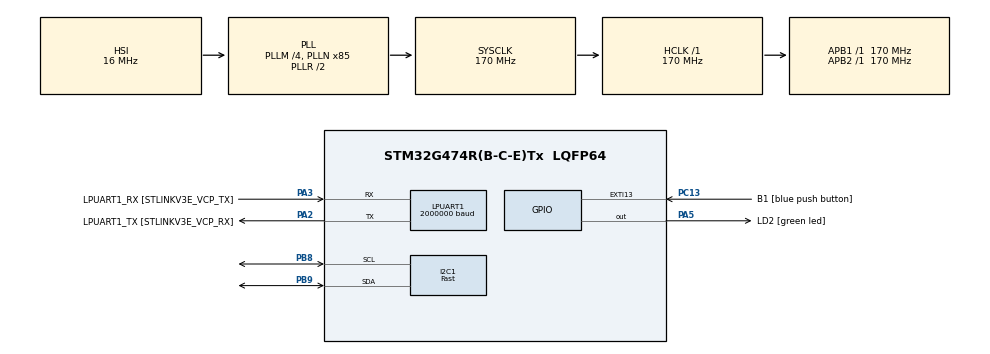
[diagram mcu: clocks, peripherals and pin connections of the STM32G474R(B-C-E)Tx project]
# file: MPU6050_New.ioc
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Dma.LPUART1_RX.1.Direction=DMA_PERIPH_TO_MEMORY
Dma.LPUART1_RX.1.EventEnable=DISABLE
Dma.LPUART1_RX.1.Instance=DMA1_Channel2
Dma.LPUART1_RX.1.MemDataAlignment=DMA_MDATAALIGN_BYTE
Dma.LPUART1_RX.1.MemInc=DMA_MINC_ENABLE
Dma.LPUART1_RX.1.Mode=DMA_CIRCULAR
Dma.LPUART1_RX.1.PeriphDataAlignment=DMA_PDATAALIGN_BYTE
Dma.LPUART1_RX.1.PeriphInc=DMA_PINC_DISABLE
Dma.LPUART1_RX.1.Polarity=HAL_DMAMUX_REQ_GEN_RISING
Dma.LPUART1_RX.1.Priority=DMA_PRIORITY_VERY_HIGH
Dma.LPUART1_RX.1.RequestNumber=1
Dma.LPUART1_RX.1.SignalID=NONE
Dma.LPUART1_RX.1.SyncEnable=DISABLE
Dma.LPUART1_RX.1.SyncPolarity=HAL_DMAMUX_SYNC_NO_EVENT
Dma.LPUART1_RX.1.SyncRequestNumber=1
Dma.LPUART1_RX.1.SyncSignalID=NONE
Dma.LPUART1_TX.0.Direction=DMA_MEMORY_TO_PERIPH
Dma.LPUART1_TX.0.EventEnable=DISABLE
Dma.LPUART1_TX.0.Instance=DMA1_Channel1
Dma.LPUART1_TX.0.MemDataAlignment=DMA_MDATAALIGN_BYTE
Dma.LPUART1_TX.0.MemInc=DMA_MINC_ENABLE
Dma.LPUART1_TX.0.Mode=DMA_NORMAL
Dma.LPUART1_TX.0.PeriphDataAlignment=DMA_PDATAALIGN_BYTE
Dma.LPUART1_TX.0.PeriphInc=DMA_PINC_DISABLE
Dma.LPUART1_TX.0.Polarity=HAL_DMAMUX_REQ_GEN_RISING
Dma.LPUART1_TX.0.Priority=DMA_PRIORITY_VERY_HIGH
Dma.LPUART1_TX.0.RequestNumber=1
Dma.LPUART1_TX.0.SignalID=NONE
Dma.LPUART1_TX.0.SyncEnable=DISABLE
Dma.LPUART1_TX.0.SyncPolarity=HAL_DMAMUX_SYNC_NO_EVENT
Dma.LPUART1_TX.0.SyncRequestNumber=1
Dma.LPUART1_TX.0.SyncSignalID=NONE
Dma.Request0=LPUART1_TX
Dma.Request1=LPUART1_RX
FREERTOS.Tasks01=defaultTask,24,3000,StartDefaultTask,As weak,NULL,Static,defaultTaskBuffer,defaultTaskControlBlock
FREERTOS.configENABLE_FPU=1
I2C1.I2C_Speed_Mode=I2C_Fast
I2C1.Timing=0x40621236
LPUART1.BaudRate=2000000
Mcu.Family=STM32G4
Mcu.Name=STM32G474R(B-C-E)Tx
Mcu.Package=LQFP64
NVIC.DMA1_Channel1_IRQn=true\:5\:0\:false\:false\:true\:true\:false\:true\:true
NVIC.DMA1_Channel2_IRQn=true\:5\:0\:false\:false\:true\:true\:false\:true\:true
NVIC.EXTI15_10_IRQn=true\:5\:0\:false\:false\:true\:true\:true\:true\:true
NVIC.LPUART1_IRQn=true\:5\:0\:false\:false\:true\:true\:true\:true\:true
NVIC.PriorityGroup=NVIC_PRIORITYGROUP_4
NVIC.TIM1_UP_TIM16_IRQn=true\:15\:0\:false\:false\:true\:false\:false\:true\:true
NVIC.TimeBase=TIM1_UP_TIM16_IRQn
NVIC.TimeBaseIP=TIM1
PA13.GPIO_Label=T_SWDIO
PA13.Signal=SYS_JTMS-SWDIO
PA14.GPIO_Label=T_SWCLK
PA14.Signal=SYS_JTCK-SWCLK
PA2.GPIO_Label=LPUART1_TX [STLINKV3E_VCP_RX]
PA2.Mode=Asynchronous
PA2.Signal=LPUART1_TX
PA3.GPIO_Label=LPUART1_RX [STLINKV3E_VCP_TX]
PA3.Mode=Asynchronous
PA3.Signal=LPUART1_RX
PA5.GPIO_Label=LD2 [green led]
PA5.Signal=GPIO_Output
PB3.GPIO_Label=T_SWO
PB3.Signal=SYS_JTDO-SWO
PB8-BOOT0.Mode=I2C
PB8-BOOT0.Signal=I2C1_SCL
PB9.Mode=I2C
PB9.Signal=I2C1_SDA
PC13.GPIO_Label=B1 [blue push button]
PC13.Signal=GPXTI13
PC14-OSC32_IN.GPIO_Label=RCC_OSC32_IN
PC14-OSC32_IN.Signal=RCC_OSC32_IN
PC15-OSC32_OUT.GPIO_Label=RCC_OSC32_OUT
PC15-OSC32_OUT.Signal=RCC_OSC32_OUT
PF0-OSC_IN.GPIO_Label=RCC_OSC_IN
PF0-OSC_IN.Signal=RCC_OSC_IN
PF1-OSC_OUT.GPIO_Label=RCC_OSC_OUT
PF1-OSC_OUT.Signal=RCC_OSC_OUT
ProjectManager.HeapSize=0x200
ProjectManager.StackSize=0x400
ProjectManager.TargetToolchain=STM32CubeIDE
RCC.ADC12Freq_Value=170000000
RCC.ADC345Freq_Value=170000000
RCC.AHBFreq_Value=170000000
RCC.APB1Freq_Value=170000000
RCC.APB1TimFreq_Value=170000000
RCC.APB2Freq_Value=170000000
RCC.APB2TimFreq_Value=170000000
RCC.CortexFreq_Value=170000000
RCC.EXTERNAL_CLOCK_VALUE=12288000
RCC.HCLKFreq_Value=170000000
RCC.HSE_VALUE=24000000
RCC.HSI48_VALUE=48000000
RCC.HSI_VALUE=16000000
RCC.LSE_VALUE=32768
RCC.PLLM=RCC_PLLM_DIV4
RCC.PLLN=85
RCC.RTCClockSelection=RCC_RTCCLKSOURCE_LSE
RCC.SYSCLKFreq_VALUE=170000000
RCC.SYSCLKSource=RCC_SYSCLKSOURCE_PLLCLK
RCC.USBFreq_Value=170000000
RCC.VCOOutputFreq_Value=340000000
VP_FREERTOS_VS_CMSIS_V2.Mode=CMSIS_V2
VP_SYS_VS_DBSignals.Mode=DisableDeadBatterySignals
VP_SYS_VS_tim1.Mode=TIM1
board=NUCLEO-G474RE

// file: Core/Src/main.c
/* USER CODE BEGIN Header */
/**
  ******************************************************************************
  * @file           : main.c
  * @brief          : Main program body
  ******************************************************************************
  * @attention
  *
  * Copyright (c) 2024 STMicroelectronics.
  * All rights reserved.
  *
  * This software is licensed under terms that can be found in the LICENSE file
  * in the root directory of this software component.
  * If no LICENSE file comes with this software, it is provided AS-IS.
  *
  ******************************************************************************
  */
/* USER CODE END Header */
#include "main.h"
#include "cmsis_os.h"
#include "dma.h"
#include "i2c.h"
#include "usart.h"
#include "gpio.h"

/* USER CODE BEGIN Includes */
#include <rcl/rcl.h>
#include <rcl/error_handling.h>
#include <rclc/rclc.h>
#include <rcl/init_options.h>
#include <rclc/executor.h>
#include <uxr/client/transport.h>
#include <rmw_microxrcedds_c/config.h>
#include <rmw_microros/rmw_microros.h>
#include <micro_ros_utilities/string_utilities.h>

#include <imu_interfaces/srv/imu_calibration.h>
#include <imu_interfaces/srv/imu_status.h>
#include <sensor_msgs/msg/imu.h>
#include <geometry_msgs/msg/twist.h>
#include <mpu6050.h>
#include <math.h>
/* USER CODE END Includes */

/* USER CODE BEGIN PTD */
typedef struct {
	double x;
	double y;
	double z;
}offset3D_t;

/* USER CODE END PTD */

/* USER CODE BEGIN PD */
#define G2M_S2 9.81
#define DEG2RAD M_PI/180.0
#define RAD2DEG 180/M_PI
/* USER CODE END PD */

/* USER CODE BEGIN PM */
#define RCSOFTCHECK(fn) if (fn != RCL_RET_OK){};
/* USER CODE END PM */

/* USER CODE BEGIN PV */

// Micro ROS Define starter
rclc_support_t support;
rcl_allocator_t allocator;
rcl_node_t node;
rcl_init_options_t init_options;

// Timer
rcl_timer_t node_timer;

// Executor
rclc_executor_t executor;

// Publisher
rcl_publisher_t mpu6050_publisher;

// Service server
rcl_service_t mpu6050_service;
imu_interfaces__srv__ImuCalibration_Response mpu6050_response;
imu_interfaces__srv__ImuCalibration_Request mpu6050_request;

rcl_service_t mpu6050_status_service;
imu_interfaces__srv__ImuStatus_Request mpu6050_status_request;
imu_interfaces__srv__ImuStatus_Response mpu6050_status_response;

// Message
sensor_msgs__msg__Imu mpu6050_msg;
geometry_msgs__msg__Twist cmd_vel_msg;

// Variable
MPU6050_t MPU6050;
offset3D_t accel_offset;
offset3D_t gyro_offset;

double dt = 0.01;

bool is_calibrate = false;
/* USER CODE END PV */

void SystemClock_Config(void);
void MX_FREERTOS_Init(void);
/* USER CODE BEGIN PFP */
bool cubemx_transport_open(struct uxrCustomTransport * transport);
bool cubemx_transport_close(struct uxrCustomTransport * transport);
size_t cubemx_transport_write(struct uxrCustomTransport* transport, const uint8_t * buf, size_t len, uint8_t * err);
size_t cubemx_transport_read(struct uxrCustomTransport* transport, uint8_t* buf, size_t len, int timeout, uint8_t* err);

void * microros_allocate(size_t size, void * state);
void microros_deallocate(void * pointer, void * state);
void * microros_reallocate(void * pointer, size_t size, void * state);
void * microros_zero_allocate(size_t number_of_elements, size_t size_of_element, void * state);
/* USER CODE END PFP */

/* USER CODE BEGIN 0 */

void pub_mpu6050(){
	// Set value in mpu6050_msg
	mpu6050_msg.header.frame_id = micro_ros_string_utilities_init("mpu6050_frame");
	mpu6050_msg.header.stamp.sec = rmw_uros_epoch_millis()/1000;
	mpu6050_msg.header.stamp.nanosec = rmw_uros_epoch_nanos();

	mpu6050_msg.linear_acceleration.x = G2M_S2 * MPU6050.Ax - accel_offset.x;
	mpu6050_msg.linear_acceleration.y = G2M_S2 * MPU6050.Ay - accel_offset.y;
	mpu6050_msg.linear_acceleration.z = G2M_S2 * MPU6050.Az - accel_offset.z;

	mpu6050_msg.angular_velocity.x = DEG2RAD * MPU6050.Gx - gyro_offset.x;
	mpu6050_msg.angular_velocity.y = DEG2RAD * MPU6050.Gy - gyro_offset.y;
	mpu6050_msg.angular_velocity.z = DEG2RAD * MPU6050.Gz - gyro_offset.z;

	// Publish mpu6050 data
	RCSOFTCHECK(rcl_publish(&mpu6050_publisher, &mpu6050_msg, NULL));
}

void service_callback(const void * request_msg, void * response_msg){
  imu_interfaces__srv__ImuCalibration_Request * req_in = (imu_interfaces__srv__ImuCalibration_Request *) request_msg;
  imu_interfaces__srv__ImuCalibration_Response* res_in = (imu_interfaces__srv__ImuCalibration_Response *) response_msg;

  for(int i=0 ; i<9 ; i++){
	  mpu6050_msg.linear_acceleration_covariance[i] = req_in->imu_calib.linear_acceleration_covariance[i];
	  mpu6050_msg.angular_velocity_covariance[i] = req_in->imu_calib.angular_velocity_covariance[i];
  }

  accel_offset.x = req_in->imu_calib.linear_acceleration.x;
  accel_offset.y = req_in->imu_calib.linear_acceleration.y;
  accel_offset.z = req_in->imu_calib.linear_acceleration.z;

  gyro_offset.x = req_in->imu_calib.angular_velocity.x;
  gyro_offset.y = req_in->imu_calib.angular_velocity.y;
  gyro_offset.z = req_in->imu_calib.angular_velocity.z;

  res_in->success = true;
  is_calibrate = true;

  HAL_GPIO_WritePin(LD2_GPIO_Port, LD2_Pin, GPIO_PIN_SET);
}

void imu_status_service_callback(const void * request_msg, void * response_msg){
  imu_interfaces__srv__ImuStatus_Request * req_in = (imu_interfaces__srv__ImuStatus_Request *) request_msg;
  imu_interfaces__srv__ImuStatus_Response * res_in = (imu_interfaces__srv__ImuStatus_Response *) response_msg;

  if (req_in->imu_status_check.data){
	  if(is_calibrate){
		  double g = G2M_S2 * MPU6050.Az - accel_offset.z;
		  if( g >= 9.0 && g <= 10.8) {
			  res_in->imu_status.data = true;
		  }else {
			  res_in->imu_status.data = false;
		}
	  }else {
		  res_in->imu_status.data   = false;
	}
  }
}

void timer_callback(rcl_timer_t * timer, int64_t last_call_time){
	if (timer != NULL) {
		// Read mpu6050
		MPU6050_Read_All(&hi2c1, &MPU6050);
		// call mpu6050 publish function
		pub_mpu6050();
	}
}

void StartDefaultTask(void *argument){
  // micro-ROS configuration

  rmw_uros_set_custom_transport(
    true,
    (void *) &hlpuart1,
    cubemx_transport_open,
    cubemx_transport_close,
    cubemx_transport_write,
    cubemx_transport_read);

  rcl_allocator_t freeRTOS_allocator = rcutils_get_zero_initialized_allocator();
  freeRTOS_allocator.allocate = microros_allocate;
  freeRTOS_allocator.deallocate = microros_deallocate;
  freeRTOS_allocator.reallocate = microros_reallocate;
  freeRTOS_allocator.zero_allocate =  microros_zero_allocate;

  if (!rcutils_set_default_allocator(&freeRTOS_allocator)) {
      printf("Error on default allocators (line %d)\n", __LINE__);
  }

  // micro-ROS app
  allocator = rcl_get_default_allocator();

  //create init_options
  init_options = rcl_get_zero_initialized_init_options();
  RCSOFTCHECK(rcl_init_options_init(&init_options, allocator));
  RCSOFTCHECK(rcl_init_options_set_domain_id(&init_options, 50));

  rclc_support_init_with_options(&support, 0, NULL, &init_options, &allocator);

  // create node
  rclc_node_init_default(&node, "mpu6050_node", "", &support);

  // sync time
  rmw_uros_sync_session(1000);

  // create timer
  rclc_timer_init_default(
	  &node_timer,
	  &support,
	  RCL_MS_TO_NS(dt*1000),
	  timer_callback
  );

  // create publisher
  rclc_publisher_init_best_effort(
  	  &mpu6050_publisher,
  	  &node,
  	  ROSIDL_GET_MSG_TYPE_SUPPORT(sensor_msgs, msg, Imu),
  	  "mpu6050_publisher"
  );

  // create service
  rclc_service_init_default(
	  &mpu6050_service,
	  &node,
	  ROSIDL_GET_SRV_TYPE_SUPPORT(imu_interfaces, srv, ImuCalibration),
	  "mpu6050_calibration"
  );

  rclc_service_init_default(
	  &mpu6050_status_service,
	  &node,
	  ROSIDL_GET_SRV_TYPE_SUPPORT(imu_interfaces, srv, ImuStatus),
	  "status"
  );

  // create executor
  executor = rclc_executor_get_zero_initialized_executor();
  rclc_executor_init(&executor, &support.context, 3, &allocator);
  rclc_executor_add_timer(&executor, &node_timer);
  rclc_executor_add_service(&executor, &mpu6050_status_service, &mpu6050_status_request, &mpu6050_status_response, imu_status_service_callback);
  rclc_executor_add_service(&executor, &mpu6050_service, &mpu6050_request, &mpu6050_response, service_callback);
  rclc_executor_spin(&executor);

  for(;;){
    osDelay(10);
  }
}

/* USER CODE END 0 */

int main(void)
{

  /* MCU Configuration--------------------------------------------------------*/

  /* Reset of all peripherals, Initializes the Flash interface and the Systick. */
  HAL_Init();

  /* Configure the system clock */
  SystemClock_Config();

  /* Initialize all configured peripherals */
  MX_GPIO_Init();
  MX_DMA_Init();
  MX_LPUART1_UART_Init();
  MX_I2C1_Init();
  /* USER CODE BEGIN 2 */
  while (MPU6050_Init(&hi2c1) == 1);
  /* USER CODE END 2 */

  /* Init scheduler */
  osKernelInitialize();

  /* Call init function for freertos objects (in cmsis_os2.c) */
  MX_FREERTOS_Init();

  /* Start scheduler */
  osKernelStart();

  /* We should never get here as control is now taken by the scheduler */

  /* Infinite loop */
  while (1)
  {

  }
}

void SystemClock_Config(void)
{
  RCC_OscInitTypeDef RCC_OscInitStruct = {0};
  RCC_ClkInitTypeDef RCC_ClkInitStruct = {0};

  /** Configure the main internal regulator output voltage
  */
  HAL_PWREx_ControlVoltageScaling(PWR_REGULATOR_VOLTAGE_SCALE1_BOOST);

  /** Initializes the RCC Oscillators according to the specified parameters
  * in the RCC_OscInitTypeDef structure.
  */
  RCC_OscInitStruct.OscillatorType = RCC_OSCILLATORTYPE_HSI;
  RCC_OscInitStruct.HSIState = RCC_HSI_ON;
  RCC_OscInitStruct.HSICalibrationValue = RCC_HSICALIBRATION_DEFAULT;
  RCC_OscInitStruct.PLL.PLLState = RCC_PLL_ON;
  RCC_OscInitStruct.PLL.PLLSource = RCC_PLLSOURCE_HSI;
  RCC_OscInitStruct.PLL.PLLM = RCC_PLLM_DIV4;
  RCC_OscInitStruct.PLL.PLLN = 85;
  RCC_OscInitStruct.PLL.PLLP = RCC_PLLP_DIV2;
  RCC_OscInitStruct.PLL.PLLQ = RCC_PLLQ_DIV2;
  RCC_OscInitStruct.PLL.PLLR = RCC_PLLR_DIV2;
  if (HAL_RCC_OscConfig(&RCC_OscInitStruct) != HAL_OK)
  {
    Error_Handler();
  }

  /** Initializes the CPU, AHB and APB buses clocks
  */
  RCC_ClkInitStruct.ClockType = RCC_CLOCKTYPE_HCLK|RCC_CLOCKTYPE_SYSCLK
                              |RCC_CLOCKTYPE_PCLK1|RCC_CLOCKTYPE_PCLK2;
  RCC_ClkInitStruct.SYSCLKSource = RCC_SYSCLKSOURCE_PLLCLK;
  RCC_ClkInitStruct.AHBCLKDivider = RCC_SYSCLK_DIV1;
  RCC_ClkInitStruct.APB1CLKDivider = RCC_HCLK_DIV1;
  RCC_ClkInitStruct.APB2CLKDivider = RCC_HCLK_DIV1;

  if (HAL_RCC_ClockConfig(&RCC_ClkInitStruct, FLASH_LATENCY_4) != HAL_OK)
  {
    Error_Handler();
  }
}

void HAL_TIM_PeriodElapsedCallback(TIM_HandleTypeDef *htim)
{
  if (htim->Instance == TIM1) {
    HAL_IncTick();
  }
}

void Error_Handler(void)
{
  __disable_irq();
  while (1)
  {
  }
}
